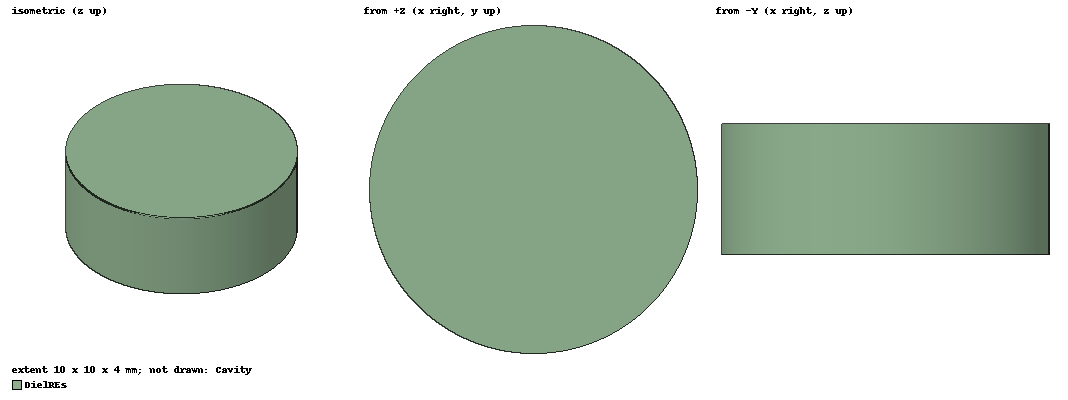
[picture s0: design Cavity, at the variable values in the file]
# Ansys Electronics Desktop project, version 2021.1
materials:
  vacuum: permittivity=1
  Al2_O3_ceramic: permittivity=9.8
  aluminum: permeability=1.000021 conductivity=38000000
  Rogers RO3010 (tm): permittivity=10.2 dielectric_loss_tangent=0.0035

design Cavity (HFSS, Eigenmode, model units mm)
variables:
  height = 4mm
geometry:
  Cavity [vacuum] = cylinder(axis=Z, base_centre=(0mm, 0mm, 0mm), radius=15mm, height=15mm)
  plane Plane1 = base (0mm, 0mm, 7.5mm) normal (0mm, 0mm, 1mm)
  DielREs [Rogers RO3010 (tm)] = cylinder(axis=Z, base_centre=(0mm, 0mm, 0mm), radius=5mm, height=height)
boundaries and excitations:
  FiniteCond1: Finite Conductivity Objects=Cavity UseMaterial Material=aluminum IsInternal
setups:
  Setup1: HfssEigen MinimumFrequency=3GHz NumModes=2 MaxDeltaFreq=2.5 ConvergeOnRealFreq=false MaximumPasses=10 MinimumPasses=1 MinimumConvergedPasses=1 PercentRefinement=30 BasisOrder=1
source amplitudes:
  #-10:1: 0 0deg
  #-10:2: 1 0deg
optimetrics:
  ParametricSetup1: Parametric Sim._Setups=[Setup1]
    sweep height: LIN 0mm 15mm 1mm
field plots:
  Mag_E1, Mag_E2: E Field over a plane on Setup1 : LastAdaptive at Phase=0deg
  Mag_H1, Mag_H2: H Field over a plane on Setup1 : LastAdaptive at Phase=0deg
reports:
  Eigen Modes Plot 1: re(Mode(1)), re(Mode(2)) vs height on Setup1 : LastAdaptive
